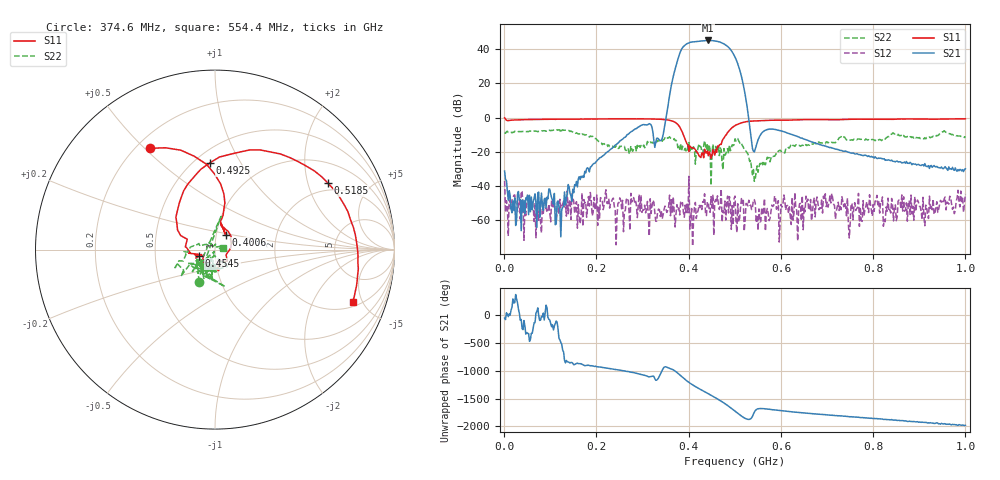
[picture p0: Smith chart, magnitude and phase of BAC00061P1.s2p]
!measured: 2026-10-27T15:18:03
!cal_instance: BBtestOct27
!cal_created: 2026-10-27T14:45
!cal_file: BBtesting.cal
!port1_delay_ps: -58.63
!port2_delay_ps: -59.31
!host: dhcp-10-250-247-203.harvard.edu
! Created with skrf 2.1.0 (http://scikit-rf.org).
# Hz S RI R 50.0
!freq ReS11 ImS11 ReS21 ImS21 ReS12 ImS12 ReS22 ImS22
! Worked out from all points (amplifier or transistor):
!   501 points, 1 MHz to 1 GHz, reference 50 ohm
!   highest |S21| = 45.1 dB at 442.6 MHz (marker M1)
!   |S21| within 3 dB of that: 390.9 MHz to 482.2 MHz (91.28 MHz wide, 20.9 % of centre)
!   unconditionally stable (mu >= 1): start of sweep to 399.9 MHz; 400.9 MHz to 433.9 MHz; 470.7 MHz to end of sweep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
!   at 166.8 MHz: K = 2802.89, MAG = -26.2 dB, |S12| = -56.9 dB
!   at 500.5 MHz: K = 1.18, MAG = 38.0 dB, |S12| = -45.8 dB
!   at 1 GHz: K = 358.82, MAG = -21.2 dB, |S12| = -44.5 dB
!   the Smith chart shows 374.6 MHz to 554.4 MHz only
!   S11 on the Smith chart (normalised r, x): 374.6 MHz: 0.25, +0.52; 400.6 MHz: 1.11, +0.19; 454.5 MHz: 0.84, -0.06; 492.5 MHz: 0.59, +0.75; 518.5 MHz: 1.70, +2.70; 554.4 MHz: 2.35, -4.19
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1000000  -0.3788 0.9214  0.0186 -0.0202  -0.00814 -0.0116  0.3616 -0.0643
1.68832e8  0.5016 -0.7585  -0.0167 -0.0063  0.00582 0.0022  -0.0185 -0.3382
3.34666e8  -0.8277 -0.366  0.1641 -0.1753  0.00134 0.00165  0.0585 -0.1987
3.74626e8  -0.36 0.5646  25.5 32.01  -0.000445 0.00283  -0.0889 -0.1794
3.86614e8  0.0312 0.3662  91.54 -61.49  0.00191 -0.00268  -0.1088 -0.0995
3.94606e8  0.045 0.1911  -1.317 -139.9  0.00128 0.00109  -0.0857 -0.0546
4.006e8  0.0591 0.0828  -89.47 -123.6  -0.0182 0.00664  0.0338 0.1852
4.1059e8  0.0581 0.1133  -165.1 7.548  0.000845 0.000546  -0.0977 -0.1025
4.24576e8  0.0707 -0.0143  -59.26 162.9  -0.00219 0.000886  -0.0745 -0.1219
4.32568e8  0.0172 -0.065  49.75 169.3  -0.0033 -0.000795  -0.0852 -0.1187
4.42558e8  -0.0522 -0.0568  159.4 85.26  -0.00235 -0.00215  -0.0818 -0.053
4.54546e8  -0.0884 -0.0353  156.6 -82.18  0.000266 -0.000249  -0.0346 -0.0957
4.66534e8  -0.1587 0.0115  9.857 -164  0.00154 0.00138  -0.034 -0.0701
4.78522e8  -0.2178 0.1814  -119.4 -69.12  -0.00337 0.00142  -0.0309 -0.0732
4.84516e8  -0.175 0.3268  -120.5 9.532  0.00307 0.00407  0.00648 -0.1241
4.92508e8  -0.0292 0.483  -54.13 73.81  0.000359 0.000409  -0.08 -0.1012
5.005e8  0.1916 0.555  15.78 56.93  -0.00254 0.00443  -0.1897 -0.148
5.18482e8  0.629 0.371  7.256 -5.739  0.00108 -0.00413  -0.1373 0.014
5.54446e8  0.7671 -0.291  -0.1477 0.2546  -0.000883 0.000151  0.0451 0.0084
6.68332e8  0.0753 -0.8732  0.1714 0.0893  0.0015 0.000321  0.0462 -0.1626
8.34166e8  -0.6035 -0.657  0.00849 -0.0574  -0.00176 -0.000599  -0.1549 -0.2317
1e9  -0.8976 -0.2133  -0.0322 0.000983  -0.00589 -0.000704  -0.2262 -0.1678
